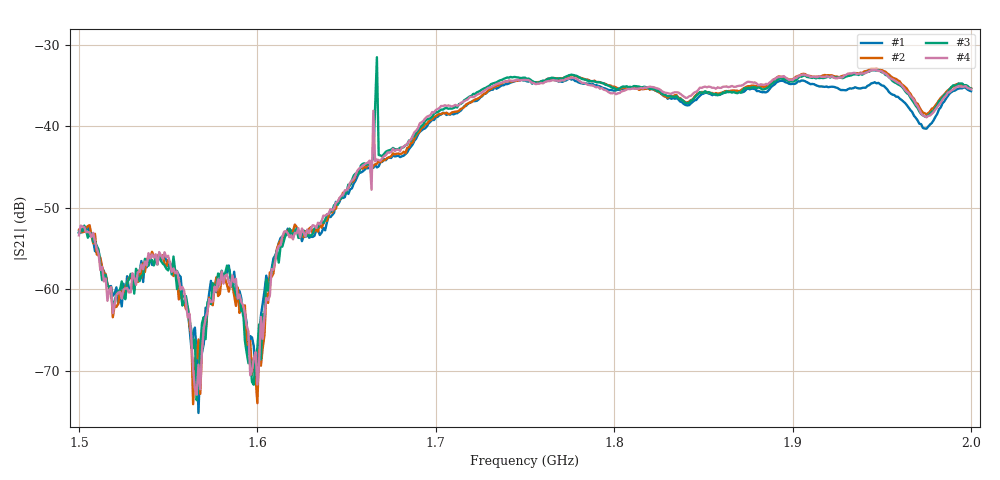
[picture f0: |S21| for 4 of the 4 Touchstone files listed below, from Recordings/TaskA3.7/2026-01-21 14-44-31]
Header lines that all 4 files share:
! NanoVNA-App by SYSJOINT et al v1.1.209 (+OD18)
! Start: 1,5GHz Stop: 2GHz Points: 501
! S-Parameter data: F S11 S21 S12 S22
# Hz S RI R 50
!  Frequency  S11_Real  S11_Imag  S21_Real  S21_Imag  S12_Real  S12_Imag  S22_Real  S22_Imag
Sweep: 1.5 GHz to 2 GHz
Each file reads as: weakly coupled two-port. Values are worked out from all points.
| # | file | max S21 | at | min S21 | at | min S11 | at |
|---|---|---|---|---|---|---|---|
| 1 | 0.s2p | -34.13 dB | 1.775 GHz | -75.2 dB | 1.567 GHz | -30.7 dB | 1.817 GHz |
| 2 | 1.s2p | -32.88 dB | 1.947 GHz | -74.1 dB | 1.564 GHz | -29.8 dB | 1.817 GHz |
| 3 | 2.s2p | -31.53 dB | 1.667 GHz | -73.6 dB | 1.566 GHz | -30.0 dB | 1.816 GHz |
| 4 | 3.s2p | -33.09 dB | 1.945 GHz | -72.9 dB | 1.566 GHz | -29.7 dB | 1.817 GHz |
